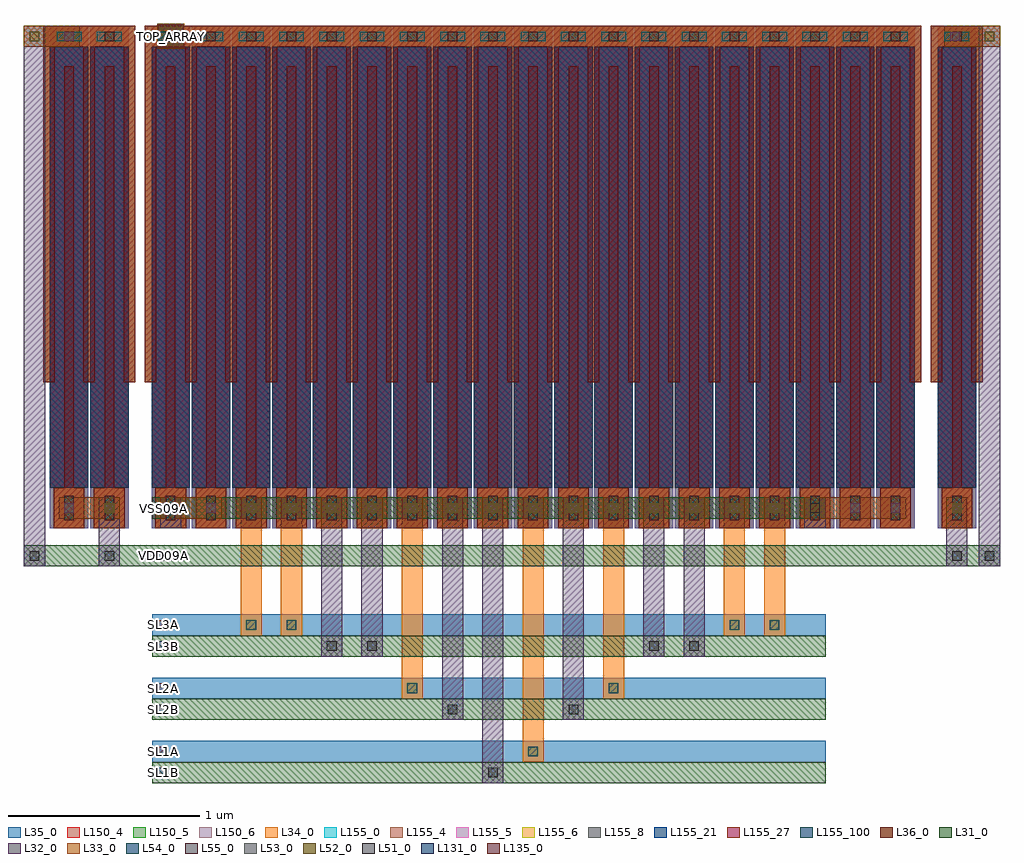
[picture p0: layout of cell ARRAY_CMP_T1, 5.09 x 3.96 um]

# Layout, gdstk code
from math import pi, radians
import gdstk
lib = gdstk.Library(unit=1e-6, precision=1e-09)
def R(c, l, rs):  # rectangles x0, y0, x1, y1
    for r in rs: c.add(gdstk.rectangle(r[:2], r[2:], *l))
def A(c, l, x, y, w, h, nx, ny, dx, dy):  # array of equal rectangles
    R(c, l, [(x+i*dx, y+j*dy, x+i*dx+w, y+j*dy+h) for i in range(nx) for j in range(ny)])
L31_0 = (31, 0)
L32_0 = (32, 0)
L33_0 = (33, 0)
L34_0 = (34, 0)
L35_0 = (35, 0)
L36_0 = (36, 0)
L51_0 = (51, 0)
L52_0 = (52, 0)
L53_0 = (53, 0)
L54_0 = (54, 0)
L55_0 = (55, 0)
L131_0 = (131, 0)
L135_0 = (135, 0)
L150_4 = (150, 4)
L150_5 = (150, 5)
L150_6 = (150, 6)
L155_0 = (155, 0)
L155_4 = (155, 4)
L155_5 = (155, 5)
L155_6 = (155, 6)
L155_8 = (155, 8)
L155_21 = (155, 21)
L155_27 = (155, 27)
L155_100 = (155, 100)

m5_m4_cdns_620204813577 = lib.new_cell('M5_M4_CDNS_620204813577')
R(m5_m4_cdns_620204813577, L34_0, [(-0.07,-0.105,0.07,0.105)])
R(m5_m4_cdns_620204813577, L35_0, [(-0.07,-0.105,0.07,0.105)])
R(m5_m4_cdns_620204813577, L54_0, [(-0.025,-0.065,0.025,0.065)])

m6_m5_cdns_620204813578 = lib.new_cell('M6_M5_CDNS_620204813578')
R(m6_m5_cdns_620204813578, L35_0, [(-0.07,-0.105,0.07,0.105)])
R(m6_m5_cdns_620204813578, L36_0, [(-0.055,-0.105,0.055,0.105)])
R(m6_m5_cdns_620204813578, L55_0, [(-0.025,-0.065,0.025,0.065)])

m5_m4_cdns_620204813579 = lib.new_cell('M5_M4_CDNS_620204813579')
R(m5_m4_cdns_620204813579, L34_0, [(-0.095,-0.055,0.095,0.055)])
R(m5_m4_cdns_620204813579, L35_0, [(-0.12,-0.055,0.12,0.055)])
R(m5_m4_cdns_620204813579, L54_0, [(-0.065,-0.025,0.065,0.025)])

m6_m5_cdns_6202048135710 = lib.new_cell('M6_M5_CDNS_6202048135710')
R(m6_m5_cdns_6202048135710, L35_0, [(-0.055,-0.055,0.055,0.055)])
R(m6_m5_cdns_6202048135710, L36_0, [(-0.055,-0.055,0.055,0.055)])
R(m6_m5_cdns_6202048135710, L55_0, [(-0.025,-0.025,0.025,0.025)])

cu1f = lib.new_cell('CU1F')
R(cu1f, L34_0, [(0.02,0,0.18,0.21), (-0.035,2.51,0.235,2.62)])
R(cu1f, L35_0, [(0.02,0,0.18,0.21), (-0.035,2.51,0.235,2.62)])
R(cu1f, L36_0, [(0.02,0,0.18,0.21), (-0.035,2.51,0.235,2.62)])
R(cu1f, L150_4, [(0,0,0.2,2.62)])
R(cu1f, L150_5, [(0,0,0.2,2.62)])
R(cu1f, L150_6, [(0,0,0.2,2.62)])
R(cu1f, L155_0, [(0,0.21,0.2,2.51)])
R(cu1f, L155_4, [(0,0.21,0.2,2.51)])
R(cu1f, L155_5, [(0,0.21,0.2,2.51)])
R(cu1f, L155_6, [(0,0.21,0.2,2.51)])
R(cu1f, L155_8, [(0,0.21,0.2,2.51)])
R(cu1f, L155_21, [(0,0.21,0.2,2.51)])
R(cu1f, L155_27, [(0,0.21,0.2,2.51)])
R(cu1f, L155_100, [(0,0.21,0.2,2.51)])
cu1f.add(gdstk.FlexPath([(0.205,2.59),(0.205,0.76)], 0.06, ends=(0.03, 0), simple_path=True, layer=34, datatype=0))  # L34_0
cu1f.add(gdstk.FlexPath([(0.1,2.41),(0.1,0)], 0.05, ends="flush", simple_path=True, layer=34, datatype=0))  # L34_0
cu1f.add(gdstk.FlexPath([(-0.005,2.59),(-0.005,0.76)], 0.06, ends=(0.03, 0), simple_path=True, layer=34, datatype=0))  # L34_0
cu1f.add(gdstk.FlexPath([(0.205,0.76),(0.205,2.59)], 0.06, ends=(0, 0.03), simple_path=True, layer=35, datatype=0))  # L35_0
cu1f.add(gdstk.FlexPath([(0.1,2.41),(0.1,0)], 0.05, ends="flush", simple_path=True, layer=35, datatype=0))  # L35_0
cu1f.add(gdstk.FlexPath([(-0.005,0.76),(-0.005,2.59)], 0.06, ends=(0, 0.03), simple_path=True, layer=35, datatype=0))  # L35_0
cu1f.add(gdstk.FlexPath([(0.205,0.76),(0.205,2.59)], 0.06, ends=(0, 0.03), simple_path=True, layer=36, datatype=0))  # L36_0
cu1f.add(gdstk.FlexPath([(0.1,2.41),(0.1,0)], 0.05, ends="flush", simple_path=True, layer=36, datatype=0))  # L36_0
cu1f.add(gdstk.FlexPath([(-0.005,0.76),(-0.005,2.59)], 0.06, ends=(0, 0.03), simple_path=True, layer=36, datatype=0))  # L36_0
cu1f.add(gdstk.Reference(m5_m4_cdns_620204813577, (0.1,0.105), rotation=pi, x_reflection=True))
cu1f.add(gdstk.Reference(m6_m5_cdns_620204813578, (0.1,0.105), rotation=pi, x_reflection=True))
cu1f.add(gdstk.Reference(m5_m4_cdns_620204813579, (0.1,2.565)))
cu1f.add(gdstk.Reference(m6_m5_cdns_6202048135710, (0.1,2.565)))

m2_m1_cdns_620204813570 = lib.new_cell('M2_M1_CDNS_620204813570')
R(m2_m1_cdns_620204813570, L31_0, [(-0.055,-0.055,0.055,0.055)])
R(m2_m1_cdns_620204813570, L32_0, [(-0.055,-0.055,0.055,0.055)])
R(m2_m1_cdns_620204813570, L51_0, [(-0.025,-0.025,0.025,0.025)])

m3_m2_cdns_620204813571 = lib.new_cell('M3_M2_CDNS_620204813571')
R(m3_m2_cdns_620204813571, L32_0, [(-0.055,-0.055,0.055,0.055)])
R(m3_m2_cdns_620204813571, L33_0, [(-0.055,-0.055,0.055,0.055)])
R(m3_m2_cdns_620204813571, L52_0, [(-0.025,-0.025,0.025,0.025)])

m4_m3_cdns_620204813572 = lib.new_cell('M4_M3_CDNS_620204813572')
R(m4_m3_cdns_620204813572, L33_0, [(-0.055,-0.055,0.055,0.055)])
R(m4_m3_cdns_620204813572, L34_0, [(-0.055,-0.055,0.055,0.055)])
R(m4_m3_cdns_620204813572, L53_0, [(-0.025,-0.025,0.025,0.025)])

m4_m3_cdns_620204813573 = lib.new_cell('M4_M3_CDNS_620204813573')
R(m4_m3_cdns_620204813573, L33_0, [(-0.07,-0.065,0.07,0.065)])
R(m4_m3_cdns_620204813573, L34_0, [(-0.055,-0.055,0.055,0.055)])
R(m4_m3_cdns_620204813573, L53_0, [(-0.025,-0.025,0.025,0.025)])

m3_m2_cdns_620204813574 = lib.new_cell('M3_M2_CDNS_620204813574')
R(m3_m2_cdns_620204813574, L32_0, [(-0.065,-0.06,0.065,0.06)])
R(m3_m2_cdns_620204813574, L33_0, [(-0.07,-0.065,0.07,0.065)])
R(m3_m2_cdns_620204813574, L52_0, [(-0.025,-0.025,0.025,0.025)])

m2_m1_cdns_620204813575 = lib.new_cell('M2_M1_CDNS_620204813575')
R(m2_m1_cdns_620204813575, L31_0, [(-0.055,-0.055,0.055,0.055)])
R(m2_m1_cdns_620204813575, L32_0, [(-0.065,-0.06,0.065,0.06)])
R(m2_m1_cdns_620204813575, L51_0, [(-0.025,-0.025,0.025,0.025)])

m5_m4_cdns_620204813576 = lib.new_cell('M5_M4_CDNS_620204813576')
R(m5_m4_cdns_620204813576, L34_0, [(-0.055,-0.055,0.055,0.055)])
R(m5_m4_cdns_620204813576, L35_0, [(-0.055,-0.055,0.055,0.055)])
R(m5_m4_cdns_620204813576, L54_0, [(-0.025,-0.025,0.025,0.025)])

array_cmp_t1 = lib.new_cell('ARRAY_CMP_T1')
A(array_cmp_t1, L31_0, 0.535, -1.33, 3.51, 0.11, 1, 3, 0, 0.33)
R(array_cmp_t1, L31_0, [(-0.135,-0.2,4.955,-0.09), (0.535,0.05,4.045,0.16), (0.56,2.5,0.7,2.63)])
R(array_cmp_t1, L32_0, [(2.255,-1.33,2.365,0.16), (2.045,-1,2.155,0.16), (2.675,-1,2.785,0.16), (1.415,-0.67,1.525,0.16), (1.625,-0.67,1.735,0.16), (3.095,-0.67,3.205,0.16), (3.305,-0.67,3.415,0.16), (-0.135,-0.2,-0.025,2.62), (0.255,-0.2,0.365,0.16), (4.675,-0.2,4.785,0.16), (4.845,-0.2,4.955,2.62), (0.575,0,0.685,0.16), (3.935,0,4.045,0.16)])
A(array_cmp_t1, L33_0, 0.995, 0, 0.11, 0.16, 14, 1, 0.21, 0)
R(array_cmp_t1, L33_0, [(4.675,0,4.785,0.16), (0.045,0.05,0.365,0.16), (0.575,0.05,0.895,0.16), (3.935,0.05,4.465,0.16), (-0.135,2.51,0.155,2.62), (4.665,2.51,4.955,2.62)])
R(array_cmp_t1, L34_0, [(2.465,-1.22,2.575,0.16), (1.835,-0.89,1.945,0.16), (2.885,-0.89,2.995,0.16), (0.995,-0.56,1.105,0.16), (1.205,-0.56,1.315,0.16), (3.515,-0.56,3.625,0.16), (3.725,-0.56,3.835,0.16)])
A(array_cmp_t1, L35_0, 0.535, -1.22, 3.51, 0.11, 1, 3, 0, 0.33)
A(array_cmp_t1, L131_0, 0.565, -1.3, 0.05, 0.05, 1, 3, 0, 0.33)
R(array_cmp_t1, L131_0, [(0.565,-0.17,0.615,-0.12), (0.565,0.08,0.615,0.13), (0.605,2.54,0.655,2.59)])
A(array_cmp_t1, L135_0, 0.565, -1.19, 0.05, 0.05, 1, 3, 0, 0.33)
array_cmp_t1.add(gdstk.Reference(cu1f, (0,0)))
array_cmp_t1.add(gdstk.Reference(cu1f, (0.21,0)))
array_cmp_t1.add(gdstk.Reference(cu1f, (0.53,0)))
array_cmp_t1.add(gdstk.Reference(cu1f, (0.74,0)))
array_cmp_t1.add(gdstk.Reference(cu1f, (4.63,0)))
array_cmp_t1.add(gdstk.Reference(cu1f, (4.31,0)))
array_cmp_t1.add(gdstk.Reference(cu1f, (4.1,0)))
array_cmp_t1.add(gdstk.Reference(cu1f, (3.89,0)))
array_cmp_t1.add(gdstk.Reference(cu1f, (3.68,0)))
array_cmp_t1.add(gdstk.Reference(cu1f, (3.47,0)))
array_cmp_t1.add(gdstk.Reference(cu1f, (3.26,0)))
array_cmp_t1.add(gdstk.Reference(cu1f, (3.05,0)))
array_cmp_t1.add(gdstk.Reference(cu1f, (2.84,0)))
array_cmp_t1.add(gdstk.Reference(cu1f, (2.63,0)))
array_cmp_t1.add(gdstk.Reference(cu1f, (2.42,0)))
array_cmp_t1.add(gdstk.Reference(cu1f, (2.21,0)))
array_cmp_t1.add(gdstk.Reference(cu1f, (2,0)))
array_cmp_t1.add(gdstk.Reference(cu1f, (1.79,0)))
array_cmp_t1.add(gdstk.Reference(cu1f, (1.58,0)))
array_cmp_t1.add(gdstk.Reference(cu1f, (1.37,0)))
array_cmp_t1.add(gdstk.Reference(cu1f, (1.16,0)))
array_cmp_t1.add(gdstk.Reference(cu1f, (0.95,0)))
array_cmp_t1.add(gdstk.Reference(m2_m1_cdns_620204813570, (4.9,-0.145)))
array_cmp_t1.add(gdstk.Reference(m2_m1_cdns_620204813570, (-0.08,-0.145)))
array_cmp_t1.add(gdstk.Reference(m2_m1_cdns_620204813570, (3.99,0.105)))
array_cmp_t1.add(gdstk.Reference(m2_m1_cdns_620204813570, (4.73,-0.145)))
array_cmp_t1.add(gdstk.Reference(m2_m1_cdns_620204813570, (0.31,-0.145)))
array_cmp_t1.add(gdstk.Reference(m2_m1_cdns_620204813570, (2.31,-1.275)))
array_cmp_t1.add(gdstk.Reference(m2_m1_cdns_620204813570, (2.1,-0.945)))
array_cmp_t1.add(gdstk.Reference(m2_m1_cdns_620204813570, (2.73,-0.945)))
array_cmp_t1.add(gdstk.Reference(m2_m1_cdns_620204813570, (1.68,-0.615)))
array_cmp_t1.add(gdstk.Reference(m2_m1_cdns_620204813570, (1.47,-0.615)))
array_cmp_t1.add(gdstk.Reference(m2_m1_cdns_620204813570, (3.15,-0.615)))
array_cmp_t1.add(gdstk.Reference(m2_m1_cdns_620204813570, (3.36,-0.615)))
array_cmp_t1.add(gdstk.Reference(m2_m1_cdns_620204813570, (0.63,0.105)))
array_cmp_t1.add(gdstk.Reference(m3_m2_cdns_620204813571, (4.9,2.565)))
array_cmp_t1.add(gdstk.Reference(m3_m2_cdns_620204813571, (-0.08,2.565)))
array_cmp_t1.add(gdstk.Reference(m3_m2_cdns_620204813571, (1.05,0.105)))
array_cmp_t1.add(gdstk.Reference(m3_m2_cdns_620204813571, (1.26,0.105)))
array_cmp_t1.add(gdstk.Reference(m3_m2_cdns_620204813571, (1.47,0.105)))
array_cmp_t1.add(gdstk.Reference(m3_m2_cdns_620204813571, (1.68,0.105)))
array_cmp_t1.add(gdstk.Reference(m3_m2_cdns_620204813571, (1.89,0.105)))
array_cmp_t1.add(gdstk.Reference(m3_m2_cdns_620204813571, (2.1,0.105)))
array_cmp_t1.add(gdstk.Reference(m3_m2_cdns_620204813571, (2.31,0.105)))
array_cmp_t1.add(gdstk.Reference(m3_m2_cdns_620204813571, (2.52,0.105)))
array_cmp_t1.add(gdstk.Reference(m3_m2_cdns_620204813571, (2.73,0.105)))
array_cmp_t1.add(gdstk.Reference(m3_m2_cdns_620204813571, (2.94,0.105)))
array_cmp_t1.add(gdstk.Reference(m3_m2_cdns_620204813571, (3.15,0.105)))
array_cmp_t1.add(gdstk.Reference(m3_m2_cdns_620204813571, (3.36,0.105)))
array_cmp_t1.add(gdstk.Reference(m3_m2_cdns_620204813571, (3.57,0.105)))
array_cmp_t1.add(gdstk.Reference(m3_m2_cdns_620204813571, (3.78,0.105)))
array_cmp_t1.add(gdstk.Reference(m3_m2_cdns_620204813571, (4.73,0.105)))
array_cmp_t1.add(gdstk.Reference(m3_m2_cdns_620204813571, (3.99,0.105)))
array_cmp_t1.add(gdstk.Reference(m3_m2_cdns_620204813571, (0.63,0.105)))
array_cmp_t1.add(gdstk.Reference(m3_m2_cdns_620204813571, (0.31,0.105)))
array_cmp_t1.add(gdstk.Reference(m4_m3_cdns_620204813572, (4.72,2.565), rotation=pi, x_reflection=True))
array_cmp_t1.add(gdstk.Reference(m4_m3_cdns_620204813572, (0.1,2.565)))
array_cmp_t1.add(gdstk.Reference(m4_m3_cdns_620204813572, (1.05,0.105)))
array_cmp_t1.add(gdstk.Reference(m4_m3_cdns_620204813572, (1.26,0.105)))
array_cmp_t1.add(gdstk.Reference(m4_m3_cdns_620204813572, (1.47,0.105)))
array_cmp_t1.add(gdstk.Reference(m4_m3_cdns_620204813572, (1.68,0.105)))
array_cmp_t1.add(gdstk.Reference(m4_m3_cdns_620204813572, (1.89,0.105)))
array_cmp_t1.add(gdstk.Reference(m4_m3_cdns_620204813572, (2.1,0.105)))
array_cmp_t1.add(gdstk.Reference(m4_m3_cdns_620204813572, (2.31,0.105)))
array_cmp_t1.add(gdstk.Reference(m4_m3_cdns_620204813572, (2.52,0.105)))
array_cmp_t1.add(gdstk.Reference(m4_m3_cdns_620204813572, (2.73,0.105)))
array_cmp_t1.add(gdstk.Reference(m4_m3_cdns_620204813572, (2.94,0.105)))
array_cmp_t1.add(gdstk.Reference(m4_m3_cdns_620204813572, (3.15,0.105)))
array_cmp_t1.add(gdstk.Reference(m4_m3_cdns_620204813572, (3.36,0.105)))
array_cmp_t1.add(gdstk.Reference(m4_m3_cdns_620204813572, (3.57,0.105)))
array_cmp_t1.add(gdstk.Reference(m4_m3_cdns_620204813572, (3.78,0.105)))
array_cmp_t1.add(gdstk.Reference(m4_m3_cdns_620204813572, (4.73,0.105)))
array_cmp_t1.add(gdstk.Reference(m4_m3_cdns_620204813572, (4.2,0.105)))
array_cmp_t1.add(gdstk.Reference(m4_m3_cdns_620204813572, (4.41,0.105)))
array_cmp_t1.add(gdstk.Reference(m4_m3_cdns_620204813572, (3.99,0.105)))
array_cmp_t1.add(gdstk.Reference(m4_m3_cdns_620204813572, (0.84,0.105)))
array_cmp_t1.add(gdstk.Reference(m4_m3_cdns_620204813572, (0.63,0.105)))
array_cmp_t1.add(gdstk.Reference(m4_m3_cdns_620204813572, (0.1,0.105)))
array_cmp_t1.add(gdstk.Reference(m4_m3_cdns_620204813572, (0.31,0.105)))
array_cmp_t1.add(gdstk.Reference(m4_m3_cdns_620204813573, (0.63,2.565)))
array_cmp_t1.add(gdstk.Reference(m3_m2_cdns_620204813574, (0.63,2.565)))
array_cmp_t1.add(gdstk.Reference(m2_m1_cdns_620204813575, (0.63,2.565)))
array_cmp_t1.add(gdstk.Reference(m5_m4_cdns_620204813576, (1.89,-0.835)))
array_cmp_t1.add(gdstk.Reference(m5_m4_cdns_620204813576, (2.94,-0.835)))
array_cmp_t1.add(gdstk.Reference(m5_m4_cdns_620204813576, (2.52,-1.165)))
array_cmp_t1.add(gdstk.Reference(m5_m4_cdns_620204813576, (3.78,-0.505)))
array_cmp_t1.add(gdstk.Reference(m5_m4_cdns_620204813576, (1.26,-0.505)))
array_cmp_t1.add(gdstk.Reference(m5_m4_cdns_620204813576, (3.57,-0.505)))
array_cmp_t1.add(gdstk.Reference(m5_m4_cdns_620204813576, (1.05,-0.505)))
array_cmp_t1.add(gdstk.Label('SL3A', (0.59,-0.505), layer=135, texttype=0))
array_cmp_t1.add(gdstk.Label('SL1A', (0.59,-1.165), layer=135, texttype=0))
array_cmp_t1.add(gdstk.Label('SL2A', (0.59,-0.835), layer=135, texttype=0))
array_cmp_t1.add(gdstk.Label('VDD09A', (0.59,-0.145), layer=131, texttype=0))
array_cmp_t1.add(gdstk.Label('SL3B', (0.59,-0.615), layer=131, texttype=0))
array_cmp_t1.add(gdstk.Label('VSS09A', (0.59,0.105), layer=131, texttype=0))
array_cmp_t1.add(gdstk.Label('SL1B', (0.59,-1.275), layer=131, texttype=0))
array_cmp_t1.add(gdstk.Label('SL2B', (0.59,-0.945), layer=131, texttype=0))
array_cmp_t1.add(gdstk.Label('TOP_ARRAY', (0.628,2.565), layer=131, texttype=0))

lib.write_gds('ARRAY_CMP_T1.gds')
